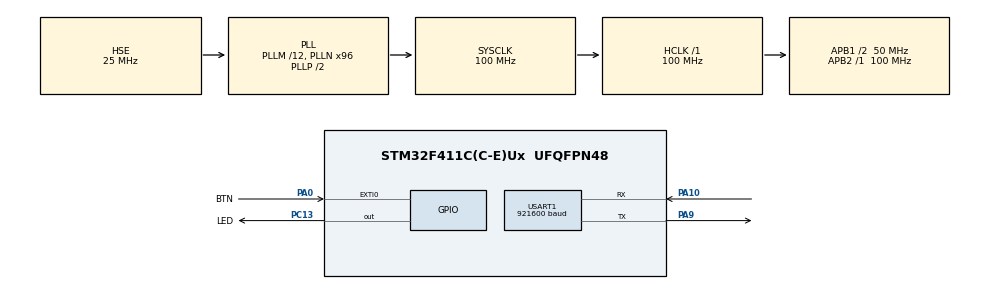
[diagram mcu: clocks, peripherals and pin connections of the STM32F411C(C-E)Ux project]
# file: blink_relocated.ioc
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Mcu.Family=STM32F4
Mcu.Name=STM32F411C(C-E)Ux
Mcu.Package=UFQFPN48
NVIC.EXTI0_IRQn=true\:0\:0\:false\:false\:true\:true\:true\:true
NVIC.PriorityGroup=NVIC_PRIORITYGROUP_4
PA0-WKUP.GPIO_Label=BTN
PA0-WKUP.GPIO_ModeDefaultEXTI=GPIO_MODE_IT_RISING_FALLING
PA0-WKUP.GPIO_PuPd=GPIO_PULLUP
PA0-WKUP.Signal=GPXTI0
PA10.Mode=Asynchronous
PA10.Signal=USART1_RX
PA13.Mode=Serial_Wire
PA13.Signal=SYS_JTMS-SWDIO
PA14.Mode=Serial_Wire
PA14.Signal=SYS_JTCK-SWCLK
PA9.Mode=Asynchronous
PA9.Signal=USART1_TX
PC13-ANTI_TAMP.GPIO_Label=LED
PC13-ANTI_TAMP.GPIO_ModeDefaultOutputPP=GPIO_MODE_OUTPUT_OD
PC13-ANTI_TAMP.GPIO_PuPd=GPIO_NOPULL
PC13-ANTI_TAMP.Signal=GPIO_Output
PH0\ -\ OSC_IN.Mode=HSE-External-Oscillator
PH0\ -\ OSC_IN.Signal=RCC_OSC_IN
PH1\ -\ OSC_OUT.Mode=HSE-External-Oscillator
PH1\ -\ OSC_OUT.Signal=RCC_OSC_OUT
ProjectManager.HeapSize=0x200
ProjectManager.StackSize=0x400
ProjectManager.TargetToolchain=STM32CubeIDE
RCC.48MHZClocksFreq_Value=50000000
RCC.AHBFreq_Value=100000000
RCC.APB1CLKDivider=RCC_HCLK_DIV2
RCC.APB1Freq_Value=50000000
RCC.APB1TimFreq_Value=100000000
RCC.APB2Freq_Value=100000000
RCC.APB2TimFreq_Value=100000000
RCC.CortexFreq_Value=100000000
RCC.HCLKFreq_Value=100000000
RCC.HSE_VALUE=25000000
RCC.HSI_VALUE=16000000
RCC.LSE_VALUE=32768
RCC.PLLM=12
RCC.PLLN=96
RCC.PLLSourceVirtual=RCC_PLLSOURCE_HSE
RCC.SYSCLKFreq_VALUE=100000000
RCC.SYSCLKSource=RCC_SYSCLKSOURCE_PLLCLK
RCC.VCOOutputFreq_Value=200000000
USART1.BaudRate=921600
USART1.VirtualMode=VM_ASYNC
board=custom

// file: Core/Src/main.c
/* USER CODE BEGIN Header */
/**
 ******************************************************************************
 * @file           : main.c
 * @brief          : Main program body
 ******************************************************************************
 * @attention
 *
 * Copyright (c) 2023 - 2024 Lars Boegild Thomsen <lbthomsen@gmail.com>
 * All rights reserved.
 *
 * This software is licensed under terms that can be found in the LICENSE file
 * in the root directory of this software component.
 * If no LICENSE file comes with this software, it is provided AS-IS.
 *
 ******************************************************************************
 */
/* USER CODE END Header */
#include "main.h"

/* USER CODE BEGIN Includes */
#include <stdio.h>
/* USER CODE END Includes */

/* USER CODE BEGIN PD */
#define DFU_BOOT_FLAG 0xDEADBEEF
/* USER CODE END PD */

UART_HandleTypeDef huart1;

/* USER CODE BEGIN PV */
extern int _estack;
uint32_t *dfu_boot_flag;
uint32_t push_count = 0;
uint32_t cnt = 0;
/* USER CODE END PV */

void SystemClock_Config(void);
static void MX_GPIO_Init(void);
static void MX_USART1_UART_Init(void);

/* USER CODE BEGIN 0 */

// Send printf to uart1
int _write(int fd, char *ptr, int len) {
    HAL_StatusTypeDef hstatus;

    if (fd == 1 || fd == 2) {
        hstatus = HAL_UART_Transmit(&huart1, (uint8_t*) ptr, len,
        HAL_MAX_DELAY);
        if (hstatus == HAL_OK)
            return len;
        else
            return -1;
    }
    return -1;
}

void HAL_GPIO_EXTI_Callback(uint16_t GPIO_Pin) {
    if (GPIO_Pin == BTN_Pin) { // If the button
        printf("Button pressed\n");
        GPIO_PinState pinState = HAL_GPIO_ReadPin(BTN_GPIO_Port, BTN_Pin);
        if (pinState == GPIO_PIN_RESET) {
            push_count = HAL_GetTick();
        } else {
            printf("Button released\n");
            if (HAL_GetTick() - push_count > 1000) {
                // Set the boot flag and reset the mcu.  The bootloader
                // will detect the flag and stay in dfu mode.  This will
                // screw up the stack but that won't matter since the device
                // is reset immediately after.
                *dfu_boot_flag = DFU_BOOT_FLAG;
                HAL_NVIC_SystemReset();
            }
            push_count = 0;
        }

    }
}

/* USER CODE END 0 */

int main(void)
{

    /* MCU Configuration--------------------------------------------------------*/

    /* Reset of all peripherals, Initializes the Flash interface and the Systick. */
    HAL_Init();

    /* Configure the system clock */
    SystemClock_Config();

    /* Initialize all configured peripherals */
    MX_GPIO_Init();
    MX_USART1_UART_Init();

    /* Infinite loop */
    /* USER CODE BEGIN WHILE */

    uint32_t now = 0, last_blink = 0, last_print = 0;

    while (1) {

        now = HAL_GetTick();

        if (now - last_blink >= 500) {
            HAL_GPIO_TogglePin(LED_GPIO_Port, LED_Pin);
            last_blink = now;
        }

        if (now - last_print >= 1000) {

            printf("Tick, now = %lu\n", now);
            ++cnt;

            last_print = now;
        }

        /* USER CODE END WHILE */

    }
}

void SystemClock_Config(void)
{
    RCC_OscInitTypeDef RCC_OscInitStruct = { 0 };
    RCC_ClkInitTypeDef RCC_ClkInitStruct = { 0 };

    /** Configure the main internal regulator output voltage
     */
    __HAL_RCC_PWR_CLK_ENABLE();
    __HAL_PWR_VOLTAGESCALING_CONFIG(PWR_REGULATOR_VOLTAGE_SCALE1);

    /** Initializes the RCC Oscillators according to the specified parameters
     * in the RCC_OscInitTypeDef structure.
     */
    RCC_OscInitStruct.OscillatorType = RCC_OSCILLATORTYPE_HSE;
    RCC_OscInitStruct.HSEState = RCC_HSE_ON;
    RCC_OscInitStruct.PLL.PLLState = RCC_PLL_ON;
    RCC_OscInitStruct.PLL.PLLSource = RCC_PLLSOURCE_HSE;
    RCC_OscInitStruct.PLL.PLLM = 12;
    RCC_OscInitStruct.PLL.PLLN = 96;
    RCC_OscInitStruct.PLL.PLLP = RCC_PLLP_DIV2;
    RCC_OscInitStruct.PLL.PLLQ = 4;
    if (HAL_RCC_OscConfig(&RCC_OscInitStruct) != HAL_OK)
            {
        Error_Handler();
    }

    /** Initializes the CPU, AHB and APB buses clocks
     */
    RCC_ClkInitStruct.ClockType = RCC_CLOCKTYPE_HCLK | RCC_CLOCKTYPE_SYSCLK
            | RCC_CLOCKTYPE_PCLK1 | RCC_CLOCKTYPE_PCLK2;
    RCC_ClkInitStruct.SYSCLKSource = RCC_SYSCLKSOURCE_PLLCLK;
    RCC_ClkInitStruct.AHBCLKDivider = RCC_SYSCLK_DIV1;
    RCC_ClkInitStruct.APB1CLKDivider = RCC_HCLK_DIV2;
    RCC_ClkInitStruct.APB2CLKDivider = RCC_HCLK_DIV1;

    if (HAL_RCC_ClockConfig(&RCC_ClkInitStruct, FLASH_LATENCY_3) != HAL_OK)
            {
        Error_Handler();
    }
}

static void MX_USART1_UART_Init(void)
{

    huart1.Instance = USART1;
    huart1.Init.BaudRate = 921600;
    huart1.Init.WordLength = UART_WORDLENGTH_8B;
    huart1.Init.StopBits = UART_STOPBITS_1;
    huart1.Init.Parity = UART_PARITY_NONE;
    huart1.Init.Mode = UART_MODE_TX_RX;
    huart1.Init.HwFlowCtl = UART_HWCONTROL_NONE;
    huart1.Init.OverSampling = UART_OVERSAMPLING_16;
    if (HAL_UART_Init(&huart1) != HAL_OK)
            {
        Error_Handler();
    }

}

static void MX_GPIO_Init(void)
{
    GPIO_InitTypeDef GPIO_InitStruct = { 0 };

    /* GPIO Ports Clock Enable */
    __HAL_RCC_GPIOC_CLK_ENABLE();
    __HAL_RCC_GPIOH_CLK_ENABLE();
    __HAL_RCC_GPIOA_CLK_ENABLE();

    /*Configure GPIO pin Output Level */
    HAL_GPIO_WritePin(LED_GPIO_Port, LED_Pin, GPIO_PIN_RESET);

    /*Configure GPIO pin : LED_Pin */
    GPIO_InitStruct.Pin = LED_Pin;
    GPIO_InitStruct.Mode = GPIO_MODE_OUTPUT_OD;
    GPIO_InitStruct.Pull = GPIO_NOPULL;
    GPIO_InitStruct.Speed = GPIO_SPEED_FREQ_LOW;
    HAL_GPIO_Init(LED_GPIO_Port, &GPIO_InitStruct);

    /*Configure GPIO pin : BTN_Pin */
    GPIO_InitStruct.Pin = BTN_Pin;
    GPIO_InitStruct.Mode = GPIO_MODE_IT_RISING_FALLING;
    GPIO_InitStruct.Pull = GPIO_PULLUP;
    HAL_GPIO_Init(BTN_GPIO_Port, &GPIO_InitStruct);

    /* EXTI interrupt init*/
    HAL_NVIC_SetPriority(EXTI0_IRQn, 0, 0);
    HAL_NVIC_EnableIRQ(EXTI0_IRQn);

}

void Error_Handler(void)
{
    __disable_irq();
    while (1) {
    }
}
